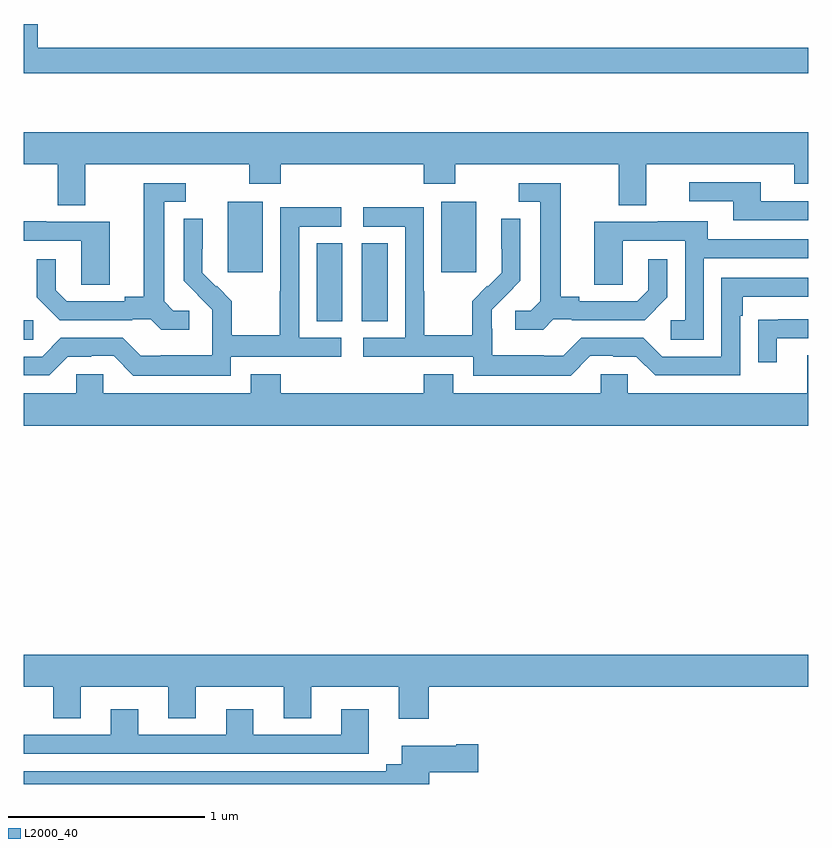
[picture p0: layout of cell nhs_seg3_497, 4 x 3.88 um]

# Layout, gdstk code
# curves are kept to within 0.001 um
import gdstk
lib = gdstk.Library(unit=1e-6, precision=1e-09)
def R(c, l, rs):  # rectangles x0, y0, x1, y1
    for r in rs: c.add(gdstk.rectangle(r[:2], r[2:], *l))
def P(c, l, *ps):  # polygons
    for p in ps: c.add(gdstk.Polygon(p, *l))
L2000_40 = (2000, 40)

nhs_seg3_497 = lib.new_cell('nhs_seg3_497')
R(nhs_seg3_497, L2000_40, [(135,722.665,135.049,722.766), (136.493,722.761,136.624,723.158), (136.724,722.761,136.855,723.158), (136.04,723.009,136.219,723.37), (137.129,723.009,137.308,723.37)])
P(nhs_seg3_497, L2000_40, [(139,724.154),(135.07,724.154),(135.07,724.276),(135,724.276),(135,724.026),(139,724.026)],
  [(135,723.56),(135.173,723.56),(135.173,723.352),(135.313,723.352),(135.313,723.56),(136.15,723.56),(136.15,723.461),(136.31,723.461),(136.31,723.56),(137.039,723.56),(137.039,723.461),(137.199,723.461),(137.199,723.56),(138.035,723.56),(138.035,723.352),(138.175,723.352),(138.175,723.56),(138.929,723.56),(138.929,723.461),(139,723.461),(139,723.724),(135,723.724)],
  [(139,723.372),(138.757,723.372),(138.757,723.468),(138.393,723.468),(138.393,723.372),(138.617,723.372),(138.617,723.276),(139,723.276)],
  [(137.7,722.769),(137.794,722.769),(137.794,722.766),(138.166,722.766),(138.282,722.882),(138.282,723.076),(138.185,723.076),(138.185,722.919),(138.128,722.862),(137.833,722.862),(137.833,722.885),(137.737,722.885),(137.737,723.465),(137.523,723.465),(137.523,723.369),(137.633,723.369),(137.633,722.861),(137.586,722.814),(137.505,722.814),(137.505,722.717),(137.648,722.717)],
  [(135.844,722.814),(135.762,722.814),(135.715,722.861),(135.715,723.369),(135.826,723.369),(135.826,723.465),(135.611,723.465),(135.611,722.885),(135.515,722.885),(135.515,722.862),(135.22,722.862),(135.163,722.919),(135.163,723.076),(135.066,723.076),(135.066,722.882),(135.182,722.766),(135.554,722.766),(135.554,722.769),(135.648,722.769),(135.7,722.717),(135.844,722.717)],
  [(137.889,722.583),(138.005,722.583),(138.005,722.58),(138.123,722.58),(138.219,722.484),(138.654,722.484),(138.654,722.789),(138.667,722.789),(138.667,722.886),(139,722.886),(139,722.982),(138.558,722.982),(138.558,722.58),(138.255,722.58),(138.159,722.676),(137.844,722.676),(137.751,722.583),(137.651,722.583),(137.651,722.587),(137.388,722.587),(137.388,722.721),(137.386,722.721),(137.386,722.818),(137.532,722.966),(137.532,723.284),(137.436,723.284),(137.436,723.13),(137.438,723.13),(137.438,723.008),(137.367,722.937),(137.364,722.94),(137.287,722.863),(137.287,722.689),(137.043,722.689),(137.043,722.912),(137.04,722.912),(137.04,723.342),(136.731,723.342),(136.731,723.243),(136.944,723.243),(136.944,722.676),(136.731,722.676),(136.731,722.58),(137.292,722.58),(137.292,722.483),(137.789,722.483)],
  [(136.056,722.58),(136.618,722.58),(136.618,722.676),(136.404,722.676),(136.404,723.243),(136.618,723.243),(136.618,723.342),(136.308,723.342),(136.308,722.912),(136.306,722.912),(136.306,722.689),(136.061,722.689),(136.061,722.863),(135.984,722.94),(135.981,722.937),(135.911,723.008),(135.912,723.284),(135.816,723.284),(135.816,722.966),(135.962,722.818),(135.962,722.721),(135.96,722.721),(135.96,722.587),(135.697,722.587),(135.697,722.583),(135.597,722.583),(135.504,722.676),(135.189,722.676),(135.093,722.58),(135,722.58),(135,722.484),(135.129,722.484),(135.225,722.58),(135.344,722.58),(135.344,722.583),(135.459,722.583),(135.559,722.483),(136.056,722.483)],
  [(138.468,723.081),(139,723.081),(139,723.177),(138.487,723.177),(138.487,723.271),(138.233,723.271),(138.233,723.267),(137.909,723.267),(137.909,722.947),(138.054,722.947),(138.054,723.171),(138.372,723.171),(138.372,722.766),(138.3,722.766),(138.3,722.665),(138.468,722.665)],
  [(135.439,723.267),(135.115,723.267),(135.115,723.271),(135,723.271),(135,723.171),(135.294,723.171),(135.294,722.947),(135.439,722.947)],
  [(138.841,722.673),(139,722.673),(139,722.769),(138.847,722.769),(138.847,722.768),(138.745,722.768),(138.745,722.55),(138.841,722.55)],
  [(139,722.587),(138.995,722.587),(138.995,722.392),(138.081,722.392),(138.081,722.49),(137.943,722.49),(137.943,722.392),(137.191,722.392),(137.191,722.491),(137.039,722.491),(137.039,722.392),(136.31,722.392),(136.31,722.491),(136.157,722.491),(136.157,722.392),(135.405,722.392),(135.405,722.49),(135.267,722.49),(135.267,722.392),(135,722.392),(135,722.228),(139,722.228)],
  [(137.066,720.896),(139,720.896),(139,721.06),(135,721.06),(135,720.896),(135.149,720.896),(135.149,720.736),(135.289,720.736),(135.289,720.896),(135.737,720.896),(135.737,720.736),(135.877,720.736),(135.877,720.896),(136.325,720.896),(136.325,720.736),(136.465,720.736),(136.465,720.896),(136.913,720.896),(136.913,720.732),(137.066,720.732)],
  [(136.759,720.781),(136.619,720.781),(136.619,720.651),(136.171,720.651),(136.171,720.781),(136.031,720.781),(136.031,720.651),(135.583,720.651),(135.583,720.781),(135.443,720.781),(135.443,720.651),(135,720.651),(135,720.555),(136.759,720.555)],
  [(137.068,720.461),(137.317,720.461),(137.317,720.603),(137.204,720.603),(137.204,720.595),(136.928,720.595),(136.928,720.502),(136.847,720.502),(136.847,720.466),(135,720.466),(135,720.4),(137.068,720.4)])

lib.write_gds('nhs_seg3_497.gds')
